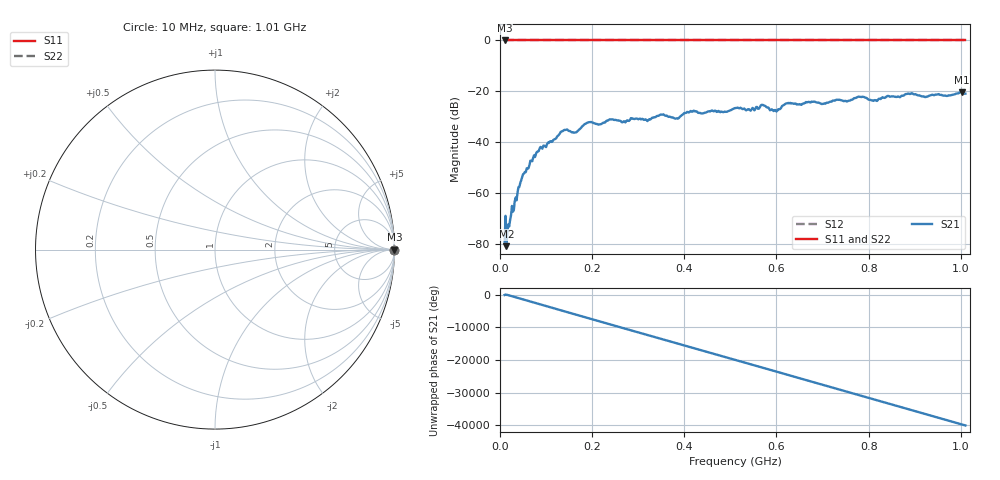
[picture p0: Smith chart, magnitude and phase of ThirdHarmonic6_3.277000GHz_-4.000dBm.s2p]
! 8/17/2025 10:09:12 AM
! C:\ANRITSUVNA\TEMP\TEMP.S2P
! CHANNEL.1
! TR.MEASUREMENT
! RAW.DATA
! RF.CORRECTION.OFF
! AVERAGING.OFF
! IF.BANDWIDTH: 5KHZ
! SWEEPTYPE:  FREQ.SWEEP(Linear)
! Reference Plane Port Info
! PORT:  PORT1  PORT2
! DISTANCE:  0  m  0  m
! TIME:  0  s  0  s
! PHASE.OFFSET:  0  deg.  0  deg.
! LOSS:  0  dB  0  dB
! REF.LOSS:  0  dB  0  dB
! REF.FREQ:  0  Hz  0  Hz
! Power Info
! POWER:  -20  dBm  -20  dBm
! EFF.POWER:  -20  dBm  -20  dBm
! SOURCE.ATTEN:  0  dB  0  dB
! TEST.ATTEN:  0  dB  0  dB
# GHZ S RI R 50.0
! FREQ.GHZ  S11RE  S11IM  S21RE  S21IM  S12RE  S12IM  S22RE  S22IM
!; PortSelection: Port_12
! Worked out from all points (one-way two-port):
!   501 points, 10 MHz to 1.01 GHz, reference 50 ohm
!   highest |S21| = -20.34 dB at 1.002 GHz (marker M1); lowest = -80.9 dB at 14 MHz (marker M2)
!   lowest |S11| = 0.0 dB at 10 MHz (marker M3)
!   |S11| at or under -10 dB: nowhere
!   |S22| runs from 0.0 to 0.0 dB; largest |S21 - S12| = 1.1
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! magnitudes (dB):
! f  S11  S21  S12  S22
! 10 MHz  0.0  -79.7  0.0  0.0
! 14 MHz  0.0  -80.9  0.0  0.0
! 18 MHz  0.0  -72.3  0.0  0.0
! 22 MHz  0.0  -70.6  0.0  0.0
! 48 MHz  0.0  -53.8  0.0  0.0
! 84 MHz  0.0  -43.5  0.0  0.0
! 136 MHz  0.0  -35.7  0.0  0.0
! 164 MHz  0.0  -36.1  0.0  0.0
! 178 MHz  0.0  -33.8  0.0  0.0
! 194 MHz  0.0  -32.1  0.0  0.0
! 322 MHz  0.0  -31.3  0.0  0.0
! 344 MHz  0.0  -29.6  0.0  0.0
! 384 MHz  0.0  -30.6  0.0  0.0
! 416 MHz  0.0  -28.0  0.0  0.0
! 510 MHz  0.0  -26.6  0.0  0.0
! 570 MHz  0.0  -25.3  0.0  0.0
! 598 MHz  0.0  -27.4  0.0  0.0
! 622 MHz  0.0  -24.7  0.0  0.0
! 678 MHz  0.0  -24.1  0.0  0.0
! 844 MHz  0.0  -21.9  0.0  0.0
! 1.002 GHz  0.0  -20.3  0.0  0.0
! 1.01 GHz  0.0  -20.9  0.0  0.0
